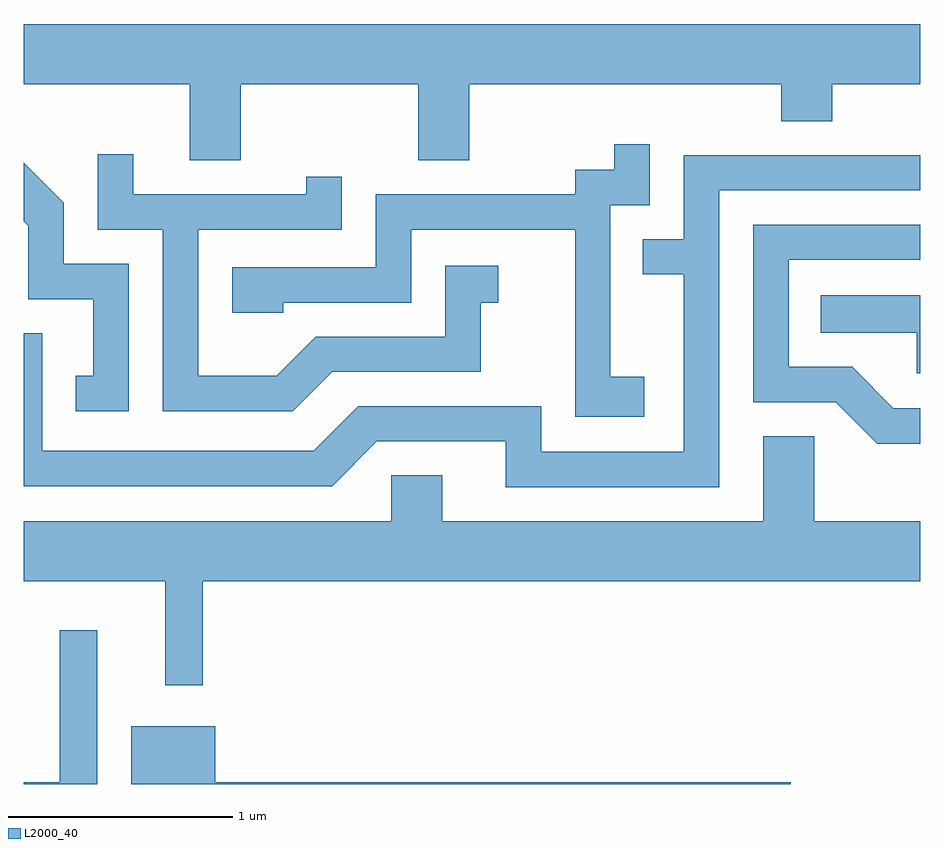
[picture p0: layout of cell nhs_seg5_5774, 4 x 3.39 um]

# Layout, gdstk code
import gdstk
lib = gdstk.Library(unit=1e-6, precision=1e-09)
def P(c, l, *ps):  # polygons
    for p in ps: c.add(gdstk.Polygon(p, *l))
L2000_40 = (2000, 40)

nhs_seg5_5774 = lib.new_cell('nhs_seg5_5774')
P(nhs_seg5_5774, L2000_40, [(356.579,1501.196),(357.371,1501.196),(357.371,1500.856),(357.599,1500.856),(357.599,1501.196),(358.991,1501.196),(358.991,1501.031),(359.219,1501.031),(359.219,1501.196),(359.611,1501.196),(359.611,1501.464),(355.611,1501.464),(355.611,1501.196),(356.351,1501.196),(356.351,1500.856),(356.579,1500.856)],
  [(358.379,1499.889),(358.229,1499.889),(358.229,1500.656),(358.404,1500.656),(358.404,1500.928),(358.246,1500.928),(358.246,1500.814),(358.071,1500.814),(358.071,1500.704),(357.181,1500.704),(357.181,1500.379),(356.541,1500.379),(356.541,1500.176),(356.769,1500.176),(356.769,1500.221),(357.339,1500.221),(357.339,1500.546),(358.071,1500.546),(358.071,1499.711),(358.379,1499.711)],
  [(356.987,1499.911),(357.649,1499.911),(357.649,1500.221),(357.728,1500.221),(357.728,1500.384),(357.491,1500.384),(357.491,1500.069),(356.914,1500.069),(356.739,1499.894),(356.389,1499.894),(356.389,1500.546),(357.029,1500.546),(357.029,1500.783),(356.871,1500.783),(356.871,1500.704),(356.099,1500.704),(356.099,1500.883),(355.941,1500.883),(355.941,1500.546),(356.231,1500.546),(356.231,1499.736),(356.812,1499.736)],
  [(358.714,1500.721),(359.611,1500.721),(359.611,1500.879),(358.556,1500.879),(358.556,1500.504),(358.373,1500.504),(358.373,1500.346),(358.556,1500.346),(358.556,1499.554),(357.919,1499.554),(357.919,1499.759),(357.104,1499.759),(356.904,1499.559),(355.694,1499.559),(355.694,1500.084),(355.611,1500.084),(355.611,1499.401),(356.987,1499.401),(357.187,1499.601),(357.761,1499.601),(357.761,1499.396),(358.714,1499.396)],
  [(356.079,1500.394),(355.789,1500.394),(355.789,1500.667),(355.611,1500.845),(355.611,1500.584),(355.631,1500.564),(355.631,1500.236),(355.921,1500.236),(355.921,1499.894),(355.843,1499.894),(355.843,1499.736),(356.079,1499.736)],
  [(359.611,1499.749),(359.492,1499.749),(359.307,1499.934),(359.024,1499.934),(359.024,1500.411),(359.611,1500.411),(359.611,1500.569),(358.866,1500.569),(358.866,1499.776),(359.234,1499.776),(359.419,1499.591),(359.611,1499.591)],
  [(359.611,1500.254),(359.168,1500.254),(359.168,1500.086),(359.596,1500.086),(359.596,1499.906),(359.611,1499.906)],
  [(356.409,1498.976),(359.611,1498.976),(359.611,1499.244),(359.139,1499.244),(359.139,1499.624),(358.911,1499.624),(358.911,1499.244),(357.479,1499.244),(357.479,1499.449),(357.251,1499.449),(357.251,1499.244),(355.611,1499.244),(355.611,1498.976),(356.241,1498.976),(356.241,1498.513),(356.409,1498.513)],
  [(355.939,1498.758),(355.771,1498.758),(355.771,1498.079),(355.611,1498.079),(355.611,1498.072),(355.939,1498.072)],
  [(359.034,1498.079),(356.464,1498.079),(356.464,1498.329),(356.091,1498.329),(356.091,1498.072),(359.034,1498.072)])

lib.write_gds('nhs_seg5_5774.gds')
